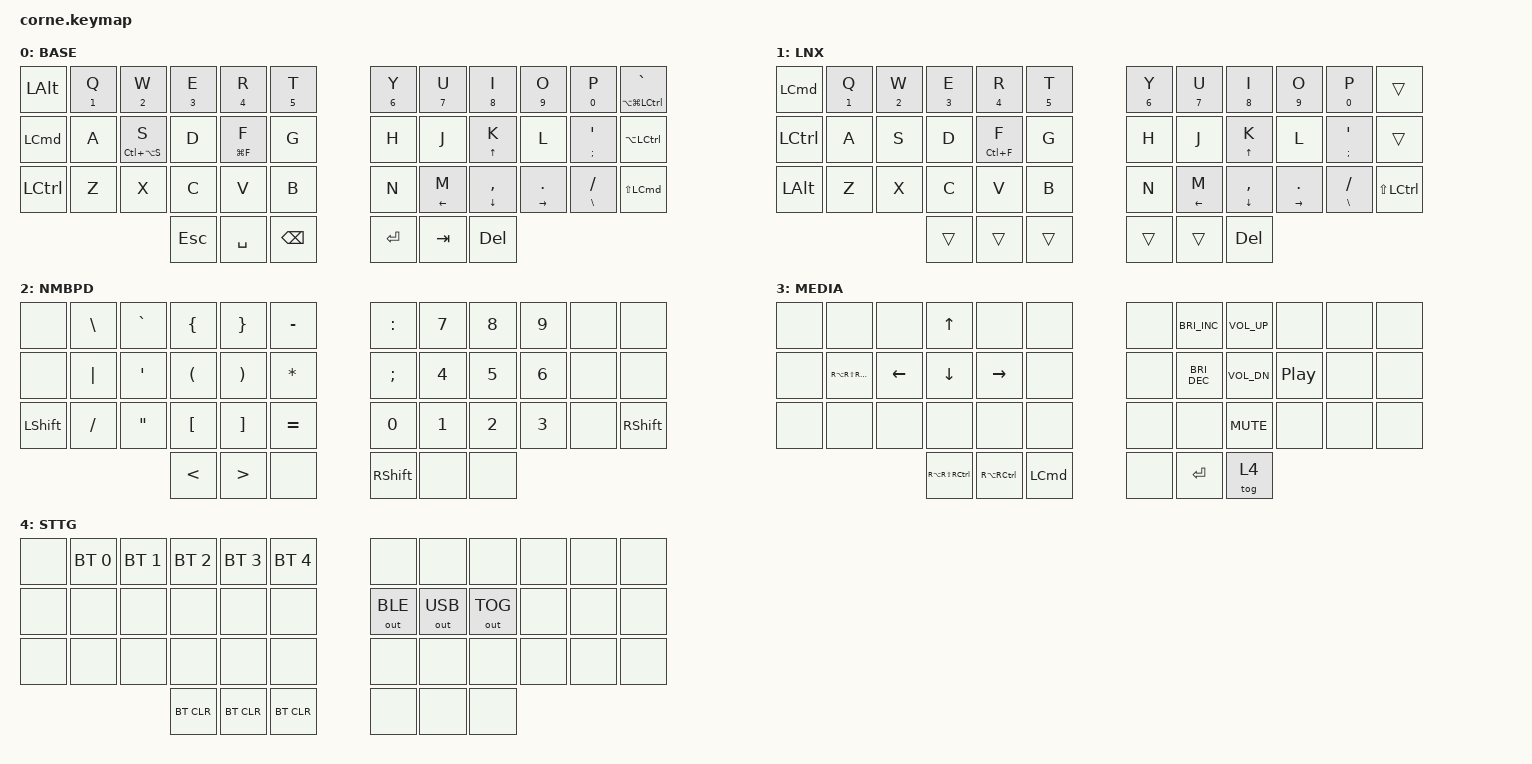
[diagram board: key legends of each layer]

#include <behaviors.dtsi>
#include <dt-bindings/zmk/keys.h>
#include <dt-bindings/zmk/bt.h>
#include <dt-bindings/zmk/outputs.h>


// Layers
#define BASE 0
#define LNX 1
#define symnumpad 2
#define media 3
#define sttg 4

/ {
    chosen {
        zmk,matrix_transform = &default_transform;
        //zmk,matrix_transform = &five_column_transform;
    };
};

// Combination Behaviors
// _____________________________________   _____________________________________
// |  0  |  1  |  2  |  3  |  4  |  5  |   |  6  |  7  |  8  |  9  |  10 |  11 |
// |  12 |  13 |  14 |  15 |  16 |  17 |   |  18 |  19 |  20 |  21 |  22 |  23 |
// |  24 |  25 |  26 |  27 |  28 |  29 |   |  30 |  31 |  32 |  33 |  34 |  35 |
//                   |  36 |  37 |  38 |   |  39 |  40 |  41 |

/ {
    combos {
        compatible = "zmk,combos";



//MISC Combinations

        combo_STTG {
            timeout-ms = <75>;
            key-positions = <0 1 12 13 24 25>;
            bindings = <&tog 4>;
                       };

       combo_SECTSYMBOL {
            timeout-ms = <40>;
            key-positions = <10 11>;
            layers = <0 1>;
            bindings = <&kp RA(NUMBER_6)>;
                       }; 

        combo_CAPSLOCK {
            timeout-ms = <50>;
            key-positions = <0 1>;
            layers = <0 1>;
            bindings = <&kp CAPSLOCK>;
                       };
        combo_LShift {
            timeout-ms = <50>;
            key-positions = <25 26>;
            layers = <0 1>;
            bindings = <&kp LSHFT>;
                     };
        combo_RShift {
            timeout-ms = <50>;
            key-positions = <33 34>;
            layers = <0 1>;
            bindings = <&kp RSHFT>;
                     };

        combo_WHISPERFLOW {
            timeout-ms = <50>;
            key-positions = <18 19>;
            layers = <0 1>;
            bindings = <&kp LA(LC(Z))>;
                     };

//LEFT MAC Combinations

        combo_WIN {
            timeout-ms = <75>;
            key-positions = <2 3 4 5>;
            layers = <0 1>;
            bindings = <&tog 1>;
                       };
        combo_SYNMBPDleft {
            timeout-ms = <50>;
            key-positions = <15 16>;
            layers = <0 1>;
            bindings = <&mo 2>;
                     };
       combo_medialeft{
            timeout-ms = <50>;
            key-positions = <13 14>;
            layers = <0 1>;
            bindings = <&mo 3>;
                     };
        combo_SCRNSHTmac {
            timeout-ms = <50>;
            key-positions = <4 5>;
            layers = <0>;
            bindings = <&kp LG(LS(N4))>;
                     };
        combo_TXTSNPRmac {
            timeout-ms = <50>;
            key-positions = <16 17>;
            layers = <0>;
            bindings = <&kp LG(LS(N2))>;
                     };
        combo_COPYPASTEmac {
            timeout-ms = <50>;
            key-positions = <28 29>;
            layers = <0>;
            bindings = <&mt LG(V) LG(C)>;
                     };



//LEFT LNX Combinations

        combo_TSKMNGRwin {
            timeout-ms = <50>;
            key-positions = <4 5>;
            layers = <1>;
            bindings = <&kp LC(LA(DEL))>;
                     };
        combo_COPYPASTEwin {
            timeout-ms = <50>;
            key-positions = <28 29>;
            layers = <1>;
            bindings = <&mt LC(V) LC(C)>;
                     };



//RIGHT MAC Combinations

       combo_SYNMBPDright{
            timeout-ms = <50>;
            key-positions = <19 20>;
            layers = <0 1>;
            bindings = <&mo 2>;
                     };

       combo_mediaright{
            timeout-ms = <50>;
            key-positions = <21 22>;
            layers = <0 1>;
            bindings = <&mo 3>;
                     };

        combo_FINDmac {
            timeout-ms = <50>;
            key-positions = <18 19>;
            layers = <0>;
            bindings = <&kp RG(F)>;
                     };

        combo_THINGSmac {
            timeout-ms = <50>;
            key-positions = <30 31>;
            layers = <0>;
            bindings = <&kp RC(SPACE)>;
                     };



//RIGHT LNX Combinations

        combo_TODOSwin {
            timeout-ms = <50>;
            key-positions = <30 31>;
            layers = <1>;
            bindings = <&kp RC(SPACE)>;
                     };
           };
    };




// Hold-tap behaviors
&mt {
    tapping-term-ms = <300>;
    flavor = "tap-preferred";
    quick-tap-ms = <200>;
};

//Keymap
/{
    keymap {
        compatible = "zmk,keymap";

base_layer {
            label = "BASE";

            // _____________________________________   _____________________________________
            // |LALT |Q (1)|W (2)|E (3)|R (4)|T (5)|   |Y (6)|U (7)|I (8)|O (9)|P (0)|MEGA`|
            // |LCMD |  A  |S (s)|  D  |F (f)|  G  |   |  H  |  J  |K (u)|  L  |' (;)| meh |
            // |LCTRL|  Z  |  X  |  C  |  V  |  B  |   |  N  |M (l)|, (d)|. (r)|/ (\)|LSCMD|
            //                   | ESC |SPACE|BSPC |   | ENT | TAB | DEL |
            //                                               
            
            bindings = <
  &kp LALT   &mt N1 Q  &mt N2 W         &mt N3 E  &mt  N4 R    &mt N5 T        &mt N6 Y   &mt N7 U      &mt N8 I        &mt N9 O       &mt N0 P       &mt LA(LG(LCTRL)) GRAVE  
  &kp LCMD   &kp A     &mt LC(LA(S)) S  &kp D     &mt LG(F) F  &kp G           &kp H      &kp J         &mt UP K        &kp L          &mt SEMI SQT   &kp LA(LCTRL)
  &kp LCTRL  &kp Z     &kp X            &kp C     &kp V        &kp B           &kp N      &mt LEFT M    &mt DOWN COMMA  &mt RIGHT DOT  &mt BSLH FSLH  &kp LS(LCMD)
                                        &kp ESC  &kp SPACE    &kp BSPC         &kp ENTER  &kp TAB  &kp DEL
            >;
        };

win_layer {
            label = "LNX";

            // _____________________________________   _____________________________________
            // |LALT |Q (1)|W (2)|E (3)|R (4)|T (5)|   |Y (6)|U (7)|I (8)|O (9)|P (0)|MEGA`|
            // |LCTRL|  A  |  S  |  D  |F (f)|  G  |   |  H  |  J  |K (u)|  L  |' (;)| meh |
            // |LCMD |  Z  |  X  |  C  |  V  |  B  |   |  N  |M (l)|, (d)|. (r)|/ (\)|ShCtl|
            //                   | ESC |SPACE|BSPC |   | ENT | TAB | DEL |
            //                                               
            
            bindings = <
  &kp LCMD   &mt N1 Q  &mt N2 W  &mt N3 E  &mt  N4 R    &mt N5 T        &mt N6 Y  &mt N7 U    &mt N8 I        &mt N9 O       &mt N0 P       &trans
  &kp LCTRL  &kp A     &kp S     &kp D     &mt LC(F) F  &kp G           &kp H     &kp J       &mt UP K        &kp L          &mt SEMI SQT   &trans
  &kp LALT   &kp Z     &kp X     &kp C     &kp V        &kp B           &kp N     &mt LEFT M  &mt DOWN COMMA  &mt RIGHT DOT  &mt BSLH FSLH  &kp LS(LCTRL)
                                          &trans  &trans  &trans        &trans  &trans  &kp DEL
            >;
        };

symnumpad_layer {
            label = "NMBPD";

            // _____________________________________   _____________________________________
            // |     |  \  |  `  |  {  |  }  |  -  |   |  :  |  7  |  8  |  9  |  -  |  +  |
            // |     |  |  |  '  |  (  |  )  |  *  |   |  ;  |  4  |  5  |  6  |  *  |  =  |
            // |LSHFT|  /  |  "  |  [  |  ]  |  =  |   |  0  |  1  |  2  |  3  |     |RSHFT|
            //                   |  <  |  >  |     |   |Shift|     |     |
            //                                 

            bindings = <
&none      &kp BSLH  &kp GRAVE  &kp LBRC   &kp RBRC  &kp MINUS           &kp COLON  &kp N7  &kp N8  &kp N9  &none  &none
&none      &kp PIPE  &kp SQT    &kp LPAR   &kp RPAR  &kp STAR            &kp SEMI   &kp N4  &kp N5  &kp N6  &none  &none
&kp LSHFT  &kp FSLH  &kp DQT    &kp LBKT   &kp RBKT  &kp EQUAL           &kp N0     &kp N1  &kp N2  &kp N3  &none  &kp RSHFT
                                      &kp LT  &kp GT  &none           &kp RSHFT  &none  &none
            >;
        };

        media_layer {
            label = "MEDIA";

            // _____________________________________   _____________________________________
            // |     |     |     |  UP |     |     |   |     |briUP|VOLUP| p_p |     |     |
            // |     | MEGA| LEFT| DOWN|RIGHT|     |   |     |briDN|VOLDN| p_p |     |     |
            // |     |     |     |     |     |     |   |     |     |VMUTE|     |     |     |
            //                   |SUPER| MEH | CMD |   |     | ENT | MED |

            bindings = <
&none      &none                 &none     &kp UP    &none      &none           &none   &kp C_BRIGHTNESS_INC  &kp C_VOL_UP  &none     &none  &none
&none      &kp RA(RS(RA(RCMD)))  &kp LEFT  &kp DOWN  &kp RIGHT  &none           &none   &kp C_BRIGHTNESS_DEC  &kp C_VOL_DN  &kp C_PP  &none  &none
&none      &none                 &none     &none     &none      &none           &none   &none                 &kp C_MUTE    &none     &none  &none
                           &kp RA(RS(RCTRL))  &kp RA(RCTRL)  &kp LCMD           &none   &kp ENTER             &tog 4
            >;
        };

        sttg_layer {
            label = "STTG";
            
            // _____________________________________   _____________________________________
            // |     | BT1 | BT2 | BT3 | BT4 | BT5 |   |     |     |     |     |     |     |
            // |     |     |     |     |     |     |   | BLE | USB |SWTCH|     |     |     |
            // |     |     |     |     |     |     |   |     |     |     |     |     |     |
            //                   |BTCLR|BTCLR|BTCLR|   |     |     |     |
            
            bindings = <
&none  &bt BT_SEL 0  &bt BT_SEL 1  &bt BT_SEL 2  &bt BT_SEL 3  &bt BT_SEL 4           &none         &none         &none         &none  &none  &none
&none  &none         &none         &none         &none         &none                  &out OUT_BLE  &out OUT_USB  &out OUT_TOG  &none  &none  &none
&none  &none         &none         &none         &none         &none                  &none         &none         &none         &none  &none  &none
                                     &bt BT_CLR    &bt BT_CLR    &bt BT_CLR           &none         &none         &none                             
            >;
        };
    };
};
